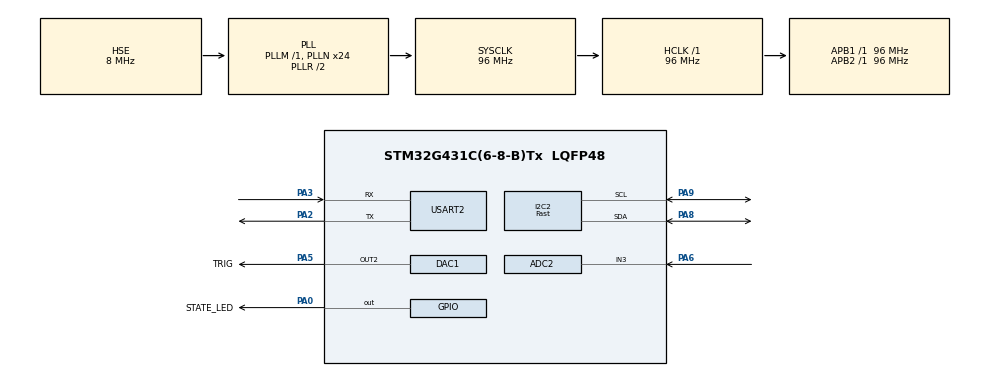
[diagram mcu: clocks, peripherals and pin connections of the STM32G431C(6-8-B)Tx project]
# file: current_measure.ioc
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ADC2.Channel-3\#ChannelRegularConversion=ADC_CHANNEL_3
ADC2.ClockPrescaler=ADC_CLOCK_SYNC_PCLK_DIV4
ADC2.EOCSelection=ADC_EOC_SEQ_CONV
ADC2.ExternalTrigConv=ADC_EXTERNALTRIG_T6_TRGO
ADC2.NbrOfConversion=1
ADC2.NbrOfConversionFlag=1
ADC2.OffsetNumber-3\#ChannelRegularConversion=ADC_OFFSET_NONE
ADC2.Rank-3\#ChannelRegularConversion=1
ADC2.Resolution=ADC_RESOLUTION_10B
ADC2.SamplingTime-3\#ChannelRegularConversion=ADC_SAMPLETIME_2CYCLES_5
DAC1.DAC_Channel-DAC_OUT2=DAC_CHANNEL_2
DAC1.DAC_OutputBuffer-DAC_OUT2=DAC_OUTPUTBUFFER_ENABLE
DAC1.DAC_SampleAndHold-DAC_OUT2=DAC_SAMPLEANDHOLD_DISABLE
DAC1.DAC_Trigger_OUT2-DAC_OUT2=DAC_TRIGGER_T6_TRGO
Dma.ADC2.1.Direction=DMA_PERIPH_TO_MEMORY
Dma.ADC2.1.EventEnable=DISABLE
Dma.ADC2.1.Instance=DMA1_Channel2
Dma.ADC2.1.MemDataAlignment=DMA_MDATAALIGN_HALFWORD
Dma.ADC2.1.MemInc=DMA_MINC_ENABLE
Dma.ADC2.1.Mode=DMA_NORMAL
Dma.ADC2.1.PeriphDataAlignment=DMA_PDATAALIGN_HALFWORD
Dma.ADC2.1.PeriphInc=DMA_PINC_DISABLE
Dma.ADC2.1.Polarity=HAL_DMAMUX_REQ_GEN_RISING
Dma.ADC2.1.Priority=DMA_PRIORITY_LOW
Dma.ADC2.1.RequestNumber=1
Dma.ADC2.1.SignalID=NONE
Dma.ADC2.1.SyncEnable=DISABLE
Dma.ADC2.1.SyncPolarity=HAL_DMAMUX_SYNC_NO_EVENT
Dma.ADC2.1.SyncRequestNumber=1
Dma.ADC2.1.SyncSignalID=NONE
Dma.DAC1_CH2.0.Direction=DMA_MEMORY_TO_PERIPH
Dma.DAC1_CH2.0.EventEnable=DISABLE
Dma.DAC1_CH2.0.Instance=DMA1_Channel1
Dma.DAC1_CH2.0.MemDataAlignment=DMA_MDATAALIGN_WORD
Dma.DAC1_CH2.0.MemInc=DMA_MINC_ENABLE
Dma.DAC1_CH2.0.Mode=DMA_CIRCULAR
Dma.DAC1_CH2.0.PeriphDataAlignment=DMA_PDATAALIGN_WORD
Dma.DAC1_CH2.0.PeriphInc=DMA_PINC_DISABLE
Dma.DAC1_CH2.0.Polarity=HAL_DMAMUX_REQ_GEN_RISING
Dma.DAC1_CH2.0.Priority=DMA_PRIORITY_LOW
Dma.DAC1_CH2.0.RequestNumber=1
Dma.DAC1_CH2.0.SignalID=NONE
Dma.DAC1_CH2.0.SyncEnable=DISABLE
Dma.DAC1_CH2.0.SyncPolarity=HAL_DMAMUX_SYNC_NO_EVENT
Dma.DAC1_CH2.0.SyncRequestNumber=1
Dma.DAC1_CH2.0.SyncSignalID=NONE
Dma.Request0=DAC1_CH2
Dma.Request1=ADC2
I2C2.I2C_Speed_Mode=I2C_Fast
I2C2.Timing=0x20611033
Mcu.Family=STM32G4
Mcu.Name=STM32G431C(6-8-B)Tx
Mcu.Package=LQFP48
NVIC.ADC1_2_IRQn=true\:0\:0\:false\:false\:true\:true\:true\:true
NVIC.DMA1_Channel1_IRQn=true\:0\:0\:false\:false\:true\:false\:true\:true
NVIC.DMA1_Channel2_IRQn=true\:0\:0\:false\:false\:true\:false\:true\:true
NVIC.PriorityGroup=NVIC_PRIORITYGROUP_4
NVIC.TIM6_DAC_IRQn=true\:0\:0\:false\:false\:true\:true\:true\:true
PA0.GPIO_Label=STATE_LED
PA0.Signal=GPIO_Output
PA13.Mode=Serial_Wire
PA13.Signal=SYS_JTMS-SWDIO
PA14.Mode=Serial_Wire
PA14.Signal=SYS_JTCK-SWCLK
PA2.Mode=Asynchronous
PA2.Signal=USART2_TX
PA3.Mode=Asynchronous
PA3.Signal=USART2_RX
PA5.GPIO_Label=TRIG
PA5.Signal=COMP_DAC12_group
PA6.Mode=IN3-Single-Ended
PA6.Signal=ADC2_IN3
PA8.Mode=I2C
PA8.Signal=I2C2_SDA
PA9.Mode=I2C
PA9.Signal=I2C2_SCL
PF0-OSC_IN.Mode=HSE-External-Oscillator
PF0-OSC_IN.Signal=RCC_OSC_IN
PF1-OSC_OUT.Mode=HSE-External-Oscillator
PF1-OSC_OUT.Signal=RCC_OSC_OUT
ProjectManager.HeapSize=0x200
ProjectManager.StackSize=0x400
ProjectManager.TargetToolchain=CMake
RCC.ADC12Freq_Value=96000000
RCC.AHBFreq_Value=96000000
RCC.APB1Freq_Value=96000000
RCC.APB1TimFreq_Value=96000000
RCC.APB2Freq_Value=96000000
RCC.APB2TimFreq_Value=96000000
RCC.CortexFreq_Value=96000000
RCC.EXTERNAL_CLOCK_VALUE=12288000
RCC.HCLKFreq_Value=96000000
RCC.HSE_VALUE=8000000
RCC.HSI48_VALUE=48000000
RCC.HSI_VALUE=16000000
RCC.LSE_VALUE=32768
RCC.PLLN=24
RCC.PLLSourceVirtual=RCC_PLLSOURCE_HSE
RCC.SYSCLKFreq_VALUE=96000000
RCC.SYSCLKSource=RCC_SYSCLKSOURCE_PLLCLK
RCC.USBFreq_Value=96000000
RCC.VCOOutputFreq_Value=192000000
SH.COMP_DAC12_group.0=DAC1_OUT2,DAC_OUT2
SYS.TrimmingMode=USER_TRIMMING
SYS.TrimmingValue=18
SYS.VoltageScaling=SYSCFG_VREFBUF_VOLTAGE_SCALE0
TIM6.PeriodNoDither=149
TIM6.Prescaler=0
TIM6.TIM_MasterOutputTrigger=TIM_TRGO_UPDATE
USART2.VirtualMode-Asynchronous=VM_ASYNC
VP_SYS_VS_DBSignals.Mode=DisableDeadBatterySignals
VP_TIM6_VS_ClockSourceINT.Mode=Enable_Timer
VREF+.Mode=InternalMode
VREF+.Signal=VREFBUF_OUT
board=custom

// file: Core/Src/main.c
/* USER CODE BEGIN Header */
/**
  ******************************************************************************
  * @file           : main.c
  * @brief          : Main program body
  ******************************************************************************
  * @attention
  *
  * Copyright (c) 2025 STMicroelectronics.
  * All rights reserved.
  *
  * This software is licensed under terms that can be found in the LICENSE file
  * in the root directory of this software component.
  * If no LICENSE file comes with this software, it is provided AS-IS.
  *
  ******************************************************************************
  */
/* USER CODE END Header */
#include "main.h"
#include "adc.h"
#include "dac.h"
#include "dma.h"
#include "i2c.h"
#include "tim.h"
#include "usart.h"
#include "gpio.h"

/* USER CODE BEGIN Includes */
#include <math.h>
#include <stdio.h>
#include <stdlib.h>
#include <string.h>

#include "display.h"

/* USER CODE END Includes */

/* USER CODE BEGIN PD */
#define TRIANGLE_SAMPLE_NUMBER  128
/* USER CODE END PD */

/* USER CODE BEGIN PV */
uint32_t triangle_LUT[(TRIANGLE_SAMPLE_NUMBER*2)];
int16_t measure_table[4096];
int16_t avg_meas[256];
/* USER CODE END PV */

void SystemClock_Config(void);

/* USER CODE BEGIN 0 */

void DAC_trigGen(uint16_t amplitude, uint16_t offset){
    uint16_t step = amplitude / TRIANGLE_SAMPLE_NUMBER;

    triangle_LUT[0] = offset - amplitude/2;
    for (int i = 1; i < TRIANGLE_SAMPLE_NUMBER+1; i++){
        triangle_LUT[i] = triangle_LUT[i-1] + step;
    }
    triangle_LUT[TRIANGLE_SAMPLE_NUMBER]--;

    for (int i = TRIANGLE_SAMPLE_NUMBER+1; i < TRIANGLE_SAMPLE_NUMBER*2; i++){
        triangle_LUT[i] = triangle_LUT[i-1] - step;
    }

}

// int avgMeasure(int sampleNumber, uint16_t zeroScale){
//     int64_t sum = 0;
//     char buff[32];
//     for (int i = 0; i < sampleNumber; i++){
//         HAL_ADC_Start(&hadc2);
//         int32_t sample = 0;
//         if(HAL_ADC_PollForConversion(&hadc2, 10) == HAL_OK){
//             sample = HAL_ADC_GetValue(&hadc2);
//             snprintf(buff, 32, "Tmp:%- 5li", sample);
//             sample -= 512;
//             Display_print(0, 0, buff);
//         } else {
//             Display_print(0, 0, "Error");
//         }
//         sum += sample;
//         Display_draw();
//     }
//     return sum / sampleNumber;
// }
volatile bool adc_measure_wait;

void HAL_ADC_ConvCpltCallback(ADC_HandleTypeDef* hadc) {
    if (hadc->Instance == ADC2) {
        adc_measure_wait = false;
    }
}

float avgMeasure(int sampleNumber, uint16_t zeroScale){
    adc_measure_wait = true;
    HAL_ADC_Start_DMA(&hadc2, (uint32_t*)measure_table, sampleNumber);
    while(adc_measure_wait);

    int64_t sum = 0;
    for (int i = 0; i < sampleNumber; i++){
        sum += measure_table[i] - zeroScale;
    }
    return sum / (float)(sampleNumber);

}

void sendBuffer(uint16_t sample_number, int16_t *buffer){
    char buff[16];
    for (uint16_t i = 0; i < sample_number; i++){
        if (i % 16 == 15){
            snprintf(buff, 16, "%i,\n", buffer[i]);
        } else {
            snprintf(buff, 16, "%i,", buffer[i]);
        }
        HAL_UART_Transmit(&huart2, (uint8_t*)buff, strlen(buff), 100);
    }
    HAL_UART_Transmit(&huart2, (uint8_t*)"\n\n", 2, 100);
}

bool dithering_on(){
    char msg[] = "Dithering ON\n";
    HAL_UART_Transmit(&huart2, (uint8_t*)msg, strlen(msg), 1000);
    if(HAL_DAC_Start_DMA(&hdac1, DAC1_CHANNEL_2, triangle_LUT, TRIANGLE_SAMPLE_NUMBER*2, DAC_ALIGN_12B_R) != HAL_OK){
        Display_clear();
        Display_print(0, 0, "DMA error");
        Display_draw();
        Error_Handler();
        return false;
    }
    HAL_Delay(2000);
    return true;
}

void dithering_off(){
    HAL_DAC_Stop_DMA(&hdac1, DAC1_CHANNEL_2);
}

/* USER CODE END 0 */

int main(void)
{

  /* MCU Configuration--------------------------------------------------------*/

  /* Reset of all peripherals, Initializes the Flash interface and the Systick. */
  HAL_Init();

  /* Configure the system clock */
  SystemClock_Config();

  /* Initialize all configured peripherals */
  MX_GPIO_Init();
  MX_DMA_Init();
  MX_DAC1_Init();
  MX_ADC2_Init();
  MX_I2C2_Init();
  MX_TIM6_Init();
  MX_USART2_UART_Init();
  /* USER CODE BEGIN 2 */
    if (HAL_TIM_Base_Start(&htim6) != HAL_OK){
        Display_clear();
        Display_print(0, 0, "TIM6 error");
        Display_draw();
        Error_Handler();
    }

    Display_Init();
    Display_clear();
    // if (!zeroScaling()){
    //     Display_clear();
    //     Display_print(0, 0, "Zero scaling:");
    //     Display_print(0, 16, "FAIL!");
    //     Display_draw();
    //     Error_Handler();
    // }
    // Display_clear();
    Display_draw();

    DAC_trigGen(4096, 2048);
    // dithering_on();

  /* USER CODE END 2 */

  /* Infinite loop */
  /* USER CODE BEGIN WHILE */
    int      cnt = 4096;
    uint16_t zero_current = roundf(avgMeasure(cnt, 0));
    char buff[32];
    int size = snprintf(buff, 32, "Zero current: %i\n", zero_current);
    HAL_UART_Transmit(&huart2, (uint8_t*)buff, size, 100);
    volatile bool run = true;
    int i = 0;
    while (run)
    {
        HAL_GPIO_TogglePin(STATE_LED_GPIO_Port, STATE_LED_Pin);
        float avg = avgMeasure(cnt, zero_current);
        // sendBuffer(cnt, measure_table);
        int dev = avg;
        int rem = abs(avg * 100);
        if (dev == 0 && avg < 0){
            snprintf(buff, 32, "D0:   -0.%02i", rem);
        } else {
            snprintf(buff, 32, "D0:% 5i.%02i", dev, rem);
        }
        Display_print(0, 0, buff);

        Display_print(0, 16, buff);
        HAL_GPIO_TogglePin(STATE_LED_GPIO_Port, STATE_LED_Pin);
        avg = avgMeasure(cnt, zero_current);
        // sendBuffer(cnt, measure_table);
        dev = avg;
        rem = abs(avg * 100);
        rem = rem % 100;
        if (dev == 0 && avg < 0){
            snprintf(buff, 32, "D1:   -0.%02i", rem);
        } else {
            snprintf(buff, 32, "D1:% 5i.%02i", dev, rem);
        }
        Display_print(0, 16, buff);

        int voltage = avg * 2000 / 25;
        snprintf(buff, 32, "V:% 6iuV", voltage);
        Display_print(0, 32, buff);
        int current = voltage;
        snprintf(buff, 32, "I:% 6inA", current);
        Display_print(0, 48, buff);
        Display_draw();
        HAL_Delay(50);

        avg_meas[i] = avg*100;
        if (i >= 256){
            HAL_UART_Transmit(&huart2, (uint8_t*)"\n", 1, 100);
            sendBuffer(256, avg_meas);
            i = 0;
        } else {
            snprintf(buff, 32, "[%03i]\r", i);
            HAL_UART_Transmit(&huart2, (uint8_t*)buff, strlen(buff), 100);
        }
        i++;

    /* USER CODE END WHILE */

    }
}

void SystemClock_Config(void)
{
  RCC_OscInitTypeDef RCC_OscInitStruct = {0};
  RCC_ClkInitTypeDef RCC_ClkInitStruct = {0};

  /** Configure the main internal regulator output voltage
  */
  HAL_PWREx_ControlVoltageScaling(PWR_REGULATOR_VOLTAGE_SCALE1);

  /** Initializes the RCC Oscillators according to the specified parameters
  * in the RCC_OscInitTypeDef structure.
  */
  RCC_OscInitStruct.OscillatorType = RCC_OSCILLATORTYPE_HSE;
  RCC_OscInitStruct.HSEState = RCC_HSE_ON;
  RCC_OscInitStruct.PLL.PLLState = RCC_PLL_ON;
  RCC_OscInitStruct.PLL.PLLSource = RCC_PLLSOURCE_HSE;
  RCC_OscInitStruct.PLL.PLLM = RCC_PLLM_DIV1;
  RCC_OscInitStruct.PLL.PLLN = 24;
  RCC_OscInitStruct.PLL.PLLP = RCC_PLLP_DIV2;
  RCC_OscInitStruct.PLL.PLLQ = RCC_PLLQ_DIV2;
  RCC_OscInitStruct.PLL.PLLR = RCC_PLLR_DIV2;
  if (HAL_RCC_OscConfig(&RCC_OscInitStruct) != HAL_OK)
  {
    Error_Handler();
  }

  /** Initializes the CPU, AHB and APB buses clocks
  */
  RCC_ClkInitStruct.ClockType = RCC_CLOCKTYPE_HCLK|RCC_CLOCKTYPE_SYSCLK
                              |RCC_CLOCKTYPE_PCLK1|RCC_CLOCKTYPE_PCLK2;
  RCC_ClkInitStruct.SYSCLKSource = RCC_SYSCLKSOURCE_PLLCLK;
  RCC_ClkInitStruct.AHBCLKDivider = RCC_SYSCLK_DIV1;
  RCC_ClkInitStruct.APB1CLKDivider = RCC_HCLK_DIV1;
  RCC_ClkInitStruct.APB2CLKDivider = RCC_HCLK_DIV1;

  if (HAL_RCC_ClockConfig(&RCC_ClkInitStruct, FLASH_LATENCY_3) != HAL_OK)
  {
    Error_Handler();
  }
}

void Error_Handler(void)
{
  __disable_irq();
  while (1)
  {
  }
}
